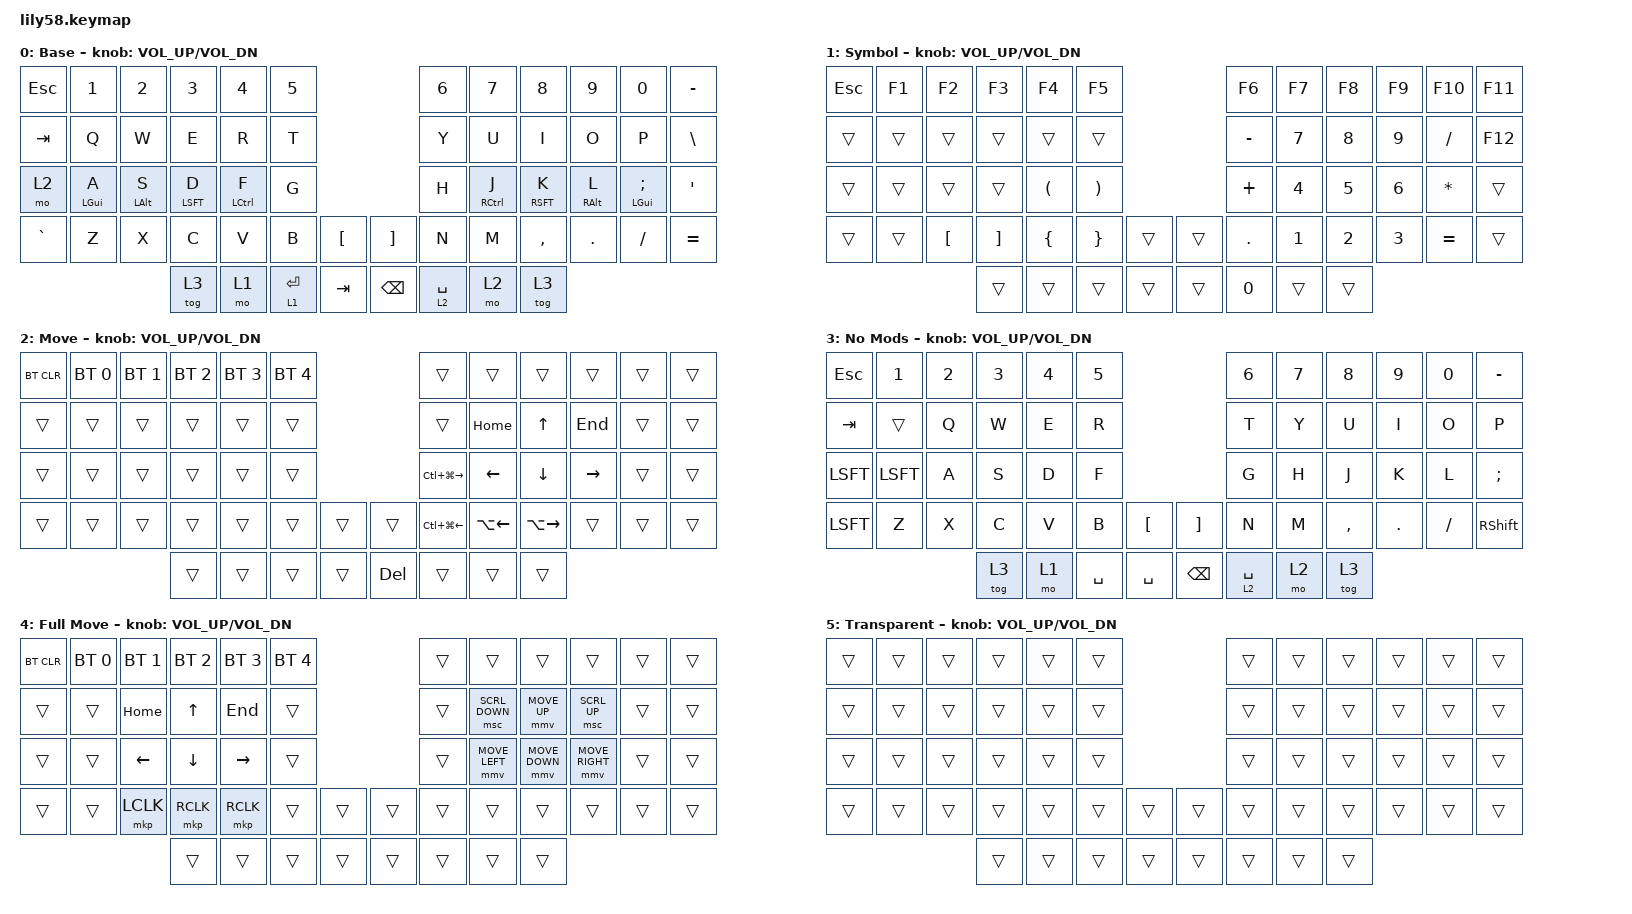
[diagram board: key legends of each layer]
/*
 * Copyright (c) 2020 The ZMK Contributors
 *
 * SPDX-License-Identifier: MIT
 */

#include <behaviors.dtsi>
#include <dt-bindings/zmk/keys.h>
#include <dt-bindings/zmk/bt.h>
#include <dt-bindings/zmk/ext_power.h>

#define ZMK_POINTING_DEFAULT_MOVE_VAL 1200 // default: 600
#define ZMK_POINTING_DEFAULT_SCRL_VAL 20    // default: 10

#include <dt-bindings/zmk/pointing.h>

&lt {
    tapping-term-ms = <175>;
    quick-tap-ms = <175>;
};

&mmv {
    x-input-code = <INPUT_REL_X>;
    y-input-code = <INPUT_REL_Y>;
    time-to-max-speed-ms = <300>;
    acceleration-exponent = <1>;
};

/ {

    behaviors {
         hm: homerow_mods {
            compatible = "zmk,behavior-hold-tap";
            #binding-cells = <2>;
            tapping-term-ms = <175>;
            quick-tap-ms = <175>;
            flavor = "tap-preferred";
            require-prior-idle-ms = <125>;
            bindings = <&kp>, <&kp>;
        };
    };
    keymap {
        compatible = "zmk,keymap";

        default_layer {
// ------------------------------------------------------------------------------------------------------------
// |  ESC  |  1  |  2  |  3   |  4   |  5   |                   |  6   |  7    |  8    |  9   |   0   |   `   |
// |  TAB  |  Q  |  W  |  E   |  R   |  T   |                   |  Y   |  U    |  I    |  O   |   P   |   -   |
// |  CTRL |  A  |  S  |  D   |  F   |  G   |                   |  H   |  J    |  K    |  L   |   ;   |   '   |
// | SHIFT |  Z  |  X  |  C   |  V   |  B   |   "["  |  |  "]"  |  N   |  M    |  ,    |  .   |   /   | SHIFT |
//                     | ALT  | GUI  | LOWER|  SPACE |  | ENTER | RAISE| BSPC  | GUI   |
            display-name = "Base";
            bindings = <
&kp ESC   &kp N1 &kp N2 &kp N3   &kp N4   &kp N5                     &kp N6 &kp N7   &kp N8    &kp N9  &kp N0   &kp MINUS
&kp TAB   &kp Q  &kp W  &kp E    &kp R    &kp T                      &kp Y  &kp U    &kp I     &kp O   &kp P    &kp BSLH
&mo 2  &hm LGUI A &hm LALT S &hm LSFT D &hm LCTL F &kp G &kp H &hm RCTRL J &hm RSFT K &hm RALT L &hm LGUI SEMI &kp SQT
&kp GRAVE &kp Z  &kp X  &kp C    &kp V    &kp B  &kp LBKT   &kp RBKT &kp N  &kp M    &kp COMMA &kp DOT &kp FSLH &kp EQUAL
                        &tog 3 &mo 1 &lt 1 RET &kp TAB    &kp BSPC  &lt 2 SPACE &mo 2 &tog 3
            >;
            sensor-bindings = <&inc_dec_kp C_VOL_UP C_VOL_DN>;
        };

// mo1 This one should be about giving myself a keypad on the right side and symbols on the left and f keys across the top row
        symbol_layer {
// ------------------------------------------------------------------------------------------------------------
// |  F1   |  F2 |  F3 |  F4  |  F5  |  F6  |                   |  F7  |  F8   |  F9   |  F10 |  F11  |  F12  |
// |       |     |     |      |      |      |                   |  -   |  7    |  8    |  9   |  /    |       |
// |       |     |     |      |  (   |  )   |                   |  +   |  4    |  5    |  6   |  *    |       |
// |       |     |  [  |  ]   |  {   |  }   |        |  |       |  .   |  1    |  2    |  3   |  =    |       |
//                     |      |      |      |        |  |       |      |       |       |
            display-name = "Symbol";
            bindings = <
&kp ESC &kp F1    &kp F2    &kp F3   &kp F4    &kp F5     &kp F6      &kp F7  &kp F8  &kp F9  &kp F10  &kp F11  
&trans    &trans    &trans   &trans    &trans     &trans      &kp MINUS    &kp N7  &kp N8  &kp N9  &kp FSLH   &kp F12
&trans    &trans    &trans   &trans    &kp LPAR  &kp RPAR     &kp PLUS    &kp N4  &kp N5  &kp N6  &kp STAR   &trans
&trans    &trans    &kp LBKT  &kp RBKT &kp LBRC  &kp RBRC  &trans &trans   &kp DOT    &kp N1  &kp N2  &kp N3  &kp EQUAL   &trans
                        &trans  &trans  &trans    &trans      &trans     &kp N0     &trans    &trans
            >;
            sensor-bindings = <&inc_dec_kp C_VOL_UP C_VOL_DN>;
        };

        movement_layer {
            display-name = "Move";
            bindings = <
&bt BT_CLR &bt BT_SEL 0   &bt BT_SEL 1  &bt BT_SEL 2 &bt BT_SEL 3 &bt BT_SEL 4  &trans      &trans    &trans    &trans   &trans    &trans
&trans &trans &trans &trans &trans  &trans                &trans            &kp HOME  &kp UP    &kp END   &trans &trans
&trans &trans &trans &trans &trans &trans                 &kp LC(LG(RIGHT)) &kp LEFT  &kp DOWN  &kp RIGHT &trans &trans
&trans &trans &trans &trans &trans  &trans &trans &trans  &kp LC(LG(LEFT))  &kp LA(LEFT) &kp LA(RIGHT) &trans     &trans &trans
                        &trans  &trans  &trans    &trans   &kp DEL    &trans      &trans    &trans
            >;
            sensor-bindings = <&inc_dec_kp C_VOL_UP C_VOL_DN>;
        };

        no_hmr {
            display-name = "No Mods";
            bindings = <
&kp ESC   &kp N1 &kp N2 &kp N3   &kp N4   &kp N5                     &kp N6 &kp N7   &kp N8    &kp N9  &kp N0   &kp MINUS
&kp TAB  &trans &kp Q  &kp W  &kp E    &kp R    &kp T                      &kp Y  &kp U    &kp I     &kp O   &kp P    
&kp LSFT &kp LSFT &kp A &kp S &kp D &kp F &kp G &kp H &kp J &kp K &kp L &kp SEMI 
&kp LSFT &kp Z  &kp X  &kp C    &kp V    &kp B  &kp LBKT   &kp RBKT &kp N  &kp M    &kp COMMA &kp DOT &kp FSLH &kp RSHFT
                        &tog 3 &mo 1 &kp SPACE &kp SPACE    &kp BSPC  &lt 2 SPACE &mo 2 &tog 3
            >;
            sensor-bindings = <&inc_dec_kp C_VOL_UP C_VOL_DN>;
        };

        full_move {
            display-name = "Full Move";
            bindings = <
&bt BT_CLR &bt BT_SEL 0   &bt BT_SEL 1  &bt BT_SEL 2 &bt BT_SEL 3 &bt BT_SEL 4  &trans      &trans    &trans    &trans   &trans    &trans
&trans &trans &kp HOME  &kp UP    &kp END  &trans       &trans  &msc  SCRL_DOWN  &mmv MOVE_UP   &msc SCRL_UP   &trans &trans
&trans &trans &kp LEFT  &kp DOWN  &kp RIGHT &trans       &trans &mmv MOVE_LEFT &mmv MOVE_DOWN &mmv MOVE_RIGHT &trans &trans
&trans &trans &mkp LCLK &mkp RCLK  &mkp RCLK  &trans    &trans   &trans  &trans &trans  &trans  &trans   &trans    &trans
                        &trans  &trans  &trans    &trans   &trans    &trans      &trans    &trans
            >;
            sensor-bindings = <&inc_dec_kp C_VOL_UP C_VOL_DN>;
        };

        all_transparent {
            display-name = "Transparent";
            bindings = <
&trans &trans &trans &trans  &trans  &trans                       &trans      &trans    &trans    &trans   &trans    &trans
&trans &trans &trans &trans  &trans  &trans                       &trans      &trans    &trans    &trans   &trans    &trans
&trans &trans &trans &trans  &trans  &trans                       &trans      &trans  &trans  &trans &trans &trans
&trans &trans &trans &trans &trans &trans   &trans   &trans     &trans &trans &trans &trans &trans  &trans
                        &trans  &trans  &trans    &trans   &trans    &trans      &trans    &trans
            >;
            sensor-bindings = <&inc_dec_kp C_VOL_UP C_VOL_DN>;
        };
    };
};
